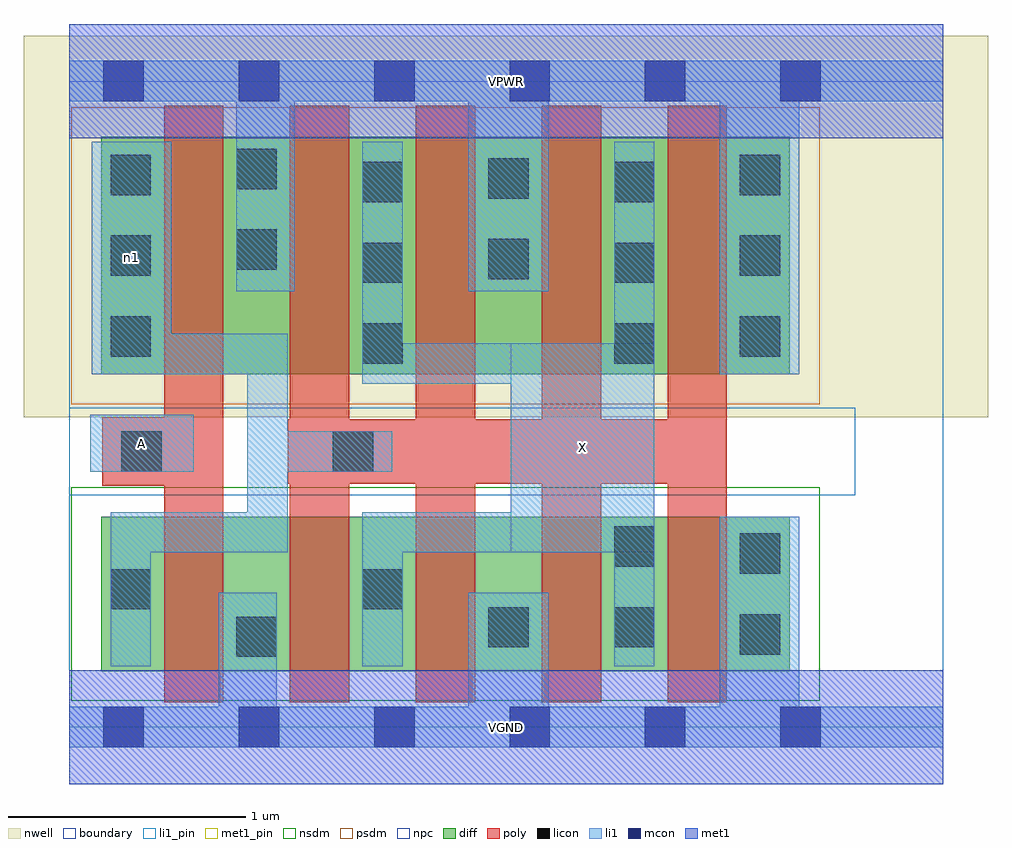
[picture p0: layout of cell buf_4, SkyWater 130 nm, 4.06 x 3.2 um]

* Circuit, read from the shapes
.subckt buf_4 A VGND VPWR X n1
XM1 VGND A n1 VSUBS sky130_fd_pr__nfet_01v8 w=0.65 l=0.25
XM2 X n1 VGND VSUBS sky130_fd_pr__nfet_01v8 w=0.65 l=0.25 m=4
XM3 VPWR A n1 n2 sky130_fd_pr__pfet_01v8 w=1 l=0.25
XM4 X n1 VPWR n2 sky130_fd_pr__pfet_01v8 w=1 l=0.25 m=4
.ends

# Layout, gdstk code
import gdstk
lib = gdstk.Library(unit=1e-6, precision=1e-09)
def R(c, l, rs):  # rectangles x0, y0, x1, y1
    for r in rs: c.add(gdstk.rectangle(r[:2], r[2:], *l))
def A(c, l, x, y, w, h, nx, ny, dx, dy):  # array of equal rectangles
    R(c, l, [(x+i*dx, y+j*dy, x+i*dx+w, y+j*dy+h) for i in range(nx) for j in range(ny)])
nwell = (64, 20)
diff = (65, 20)
poly = (66, 20)
licon = (66, 44)
li1_pin = (67, 16)
li1 = (67, 20)
mcon = (67, 44)
met1_pin = (68, 16)
met1 = (68, 20)
nsdm = (93, 44)
psdm = (94, 20)
npc = (95, 20)
boundary = (235, 4)

buf_4 = lib.new_cell('buf_4')
R(buf_4, nwell, [(-0.19,1.305,3.87,2.91), (0,1.305,3.68,2.91)])
R(buf_4, diff, [(0.135,0.235,3.035,0.885), (0.135,1.485,3.035,2.485)])
A(buf_4, poly, 0.4, 0.105, 0.25, 2.51, 5, 1, 0.53, 0)
R(buf_4, poly, [(0.14,1.015,0.65,1.305), (0.92,1.025,2.77,1.295)])
A(buf_4, licon, 1.235, 1.53, 0.17, 0.17, 1, 3, 0, 0.34)
A(buf_4, licon, 2.295, 1.53, 0.17, 0.17, 1, 3, 0, 0.34)
A(buf_4, licon, 0.175, 1.56, 0.17, 0.17, 1, 3, 0, 0.34)
A(buf_4, licon, 2.825, 1.56, 0.17, 0.17, 1, 3, 0, 0.34)
R(buf_4, licon, [(0.705,0.295,0.875,0.465), (2.825,0.305,2.995,0.475), (1.765,0.335,1.935,0.505), (2.295,0.335,2.465,0.505), (0.175,0.495,0.345,0.665), (1.235,0.495,1.405,0.665), (2.825,0.645,2.995,0.815), (2.295,0.675,2.465,0.845), (0.22,1.075,0.39,1.245), (1.11,1.075,1.28,1.245), (1.765,1.885,1.935,2.055), (0.705,1.925,0.875,2.095), (1.765,2.225,1.935,2.395), (0.705,2.265,0.875,2.435)])
R(buf_4, li1_pin, [(1.86,0.735,2.465,1.615), (0.09,1.075,0.525,1.315)])
R(buf_4, li1, [(0,-0.085,3.68,0.085), (0.63,-0.085,0.875,0.565), (1.68,-0.085,2.02,0.565), (2.74,-0.085,3.075,0.885), (0.175,0.255,0.345,0.905), (1.235,0.255,1.405,0.905), (2.295,0.255,2.465,2.465), (0.175,0.735,0.92,0.905), (0.75,0.735,0.92,1.655), (1.235,0.735,2.465,0.905), (1.86,0.735,2.465,1.615), (0.09,1.075,0.525,1.315), (0.75,1.075,1.36,1.245), (1.235,1.445,2.465,1.615), (1.235,1.445,1.405,2.465), (0.095,1.485,0.43,2.465), (0.095,1.485,0.92,1.655), (2.74,1.485,3.075,2.805), (0.705,1.835,0.95,2.805), (1.68,1.835,2.02,2.805), (0,2.635,3.68,2.805)])
A(buf_4, mcon, 0.145, -0.085, 0.17, 0.17, 6, 2, 0.57, 2.72)
R(buf_4, met1_pin, [(0,-0.24,3.68,0.24), (0,2.48,3.68,2.96)])
R(buf_4, met1, [(0,-0.24,3.68,0.24), (0,2.48,3.68,2.96)])
R(buf_4, nsdm, [(0.01,0.11,3.16,1.01)])
R(buf_4, psdm, [(0.01,1.36,3.16,2.61)])
R(buf_4, npc, [(0,0.975,3.31,1.345)])
R(buf_4, boundary, [(0,0,3.68,2.72)])
buf_4.add(gdstk.Label('A', (0.307,1.195), layer=67, texttype=5))
buf_4.add(gdstk.Label('X', (2.162,1.175), layer=67, texttype=5))
buf_4.add(gdstk.Label('n1', (0.262,1.975), layer=67, texttype=5))
buf_4.add(gdstk.Label('VPWR', (1.84,2.72), layer=68, texttype=5))
buf_4.add(gdstk.Label('VGND', (1.84,0), layer=68, texttype=5))
buf_4.add(gdstk.Label('A', (0.307,1.195), layer=67, texttype=16))
buf_4.add(gdstk.Label('X', (2.162,1.175), layer=67, texttype=16))
buf_4.add(gdstk.Label('VPWR', (1.84,2.72), layer=68, texttype=16))
buf_4.add(gdstk.Label('VGND', (1.84,0), layer=68, texttype=16))

lib.write_gds('buf_4.gds')
